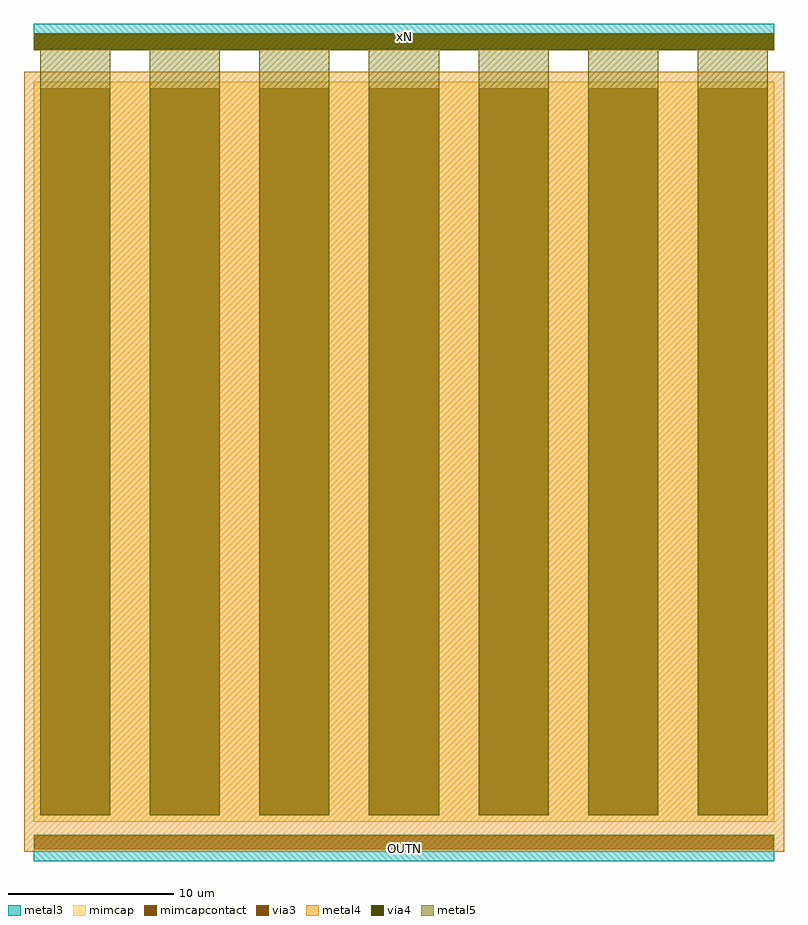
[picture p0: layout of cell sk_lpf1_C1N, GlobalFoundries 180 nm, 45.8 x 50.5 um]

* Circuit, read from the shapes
.subckt sk_lpf1_C1N xN OUTN
XC1 xN OUTN cap_mim_2f0fF c_width=44.6u c_length=44.6u
.ends

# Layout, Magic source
magic
tech gf180mcuD
magscale 1 10
<< metal3 >>
rect 0 -340 8920 -160
rect 0 9300 8920 9500
rect 0 9300 8920 9620
rect 0 9300 8920 9620
rect 0 -480 8920 -160
rect 0 -480 8920 -160
<< metal4 >>
rect -120 -360 9040 9040
rect 0 -340 8920 -160
rect 0 9300 8920 9500
rect 0 9300 8920 9500
<< mimcap >>
rect 0 0 8920 8920
<< metal5 >>
rect 78 78 922 9400
rect 1398 78 2242 9400
rect 2718 78 3562 9400
rect 4038 78 4882 9400
rect 5358 78 6202 9400
rect 6678 78 7522 9400
rect 7998 78 8842 9400
rect 0 9300 8920 9500
rect 0 9300 8920 9500
<< via3 >>
rect 10 -330 8910 -170
rect 10 9310 8910 9490
<< via4 >>
rect 10 9310 8910 9490
<< mimcapcontact >>
rect 78 78 922 8842
rect 1398 78 2242 8842
rect 2718 78 3562 8842
rect 4038 78 4882 8842
rect 5358 78 6202 8842
rect 6678 78 7522 8842
rect 7998 78 8842 8842
<< labels >>
flabel metal3 s 0 9300 8920 9620 0 FreeSans 80 0 0 0 xN
port 1 nsew signal bidirectional
flabel metal3 s 0 -480 8920 -160 0 FreeSans 80 0 0 0 OUTN
port 2 nsew signal bidirectional
<< end >>
